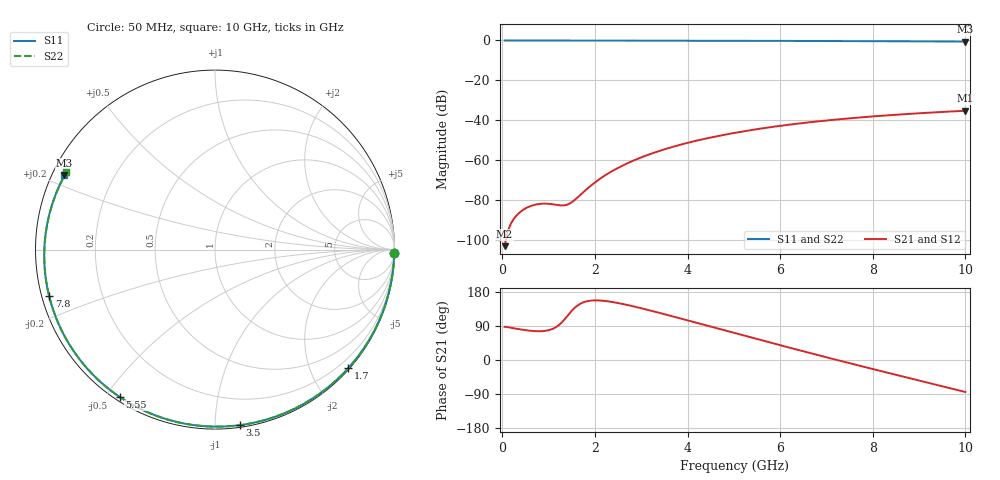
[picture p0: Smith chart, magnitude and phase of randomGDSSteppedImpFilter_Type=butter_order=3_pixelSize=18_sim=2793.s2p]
! freq	dB(S11)	phase(S11)	dB(S12)	phase(S12)
!  dB(S21)	phase(S21)	dB(S22)	phase(S22)
!S-par simulation data
#  GHz  S  DB  R 50
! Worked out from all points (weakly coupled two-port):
!   200 points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, 50 MHz to 10 GHz, reference 50 ohm
!   highest |S21| = -35.30 dB at 10 GHz (marker M1); lowest = -103.3 dB at 50 MHz (marker M2)
!   lowest |S11| = -0.6 dB at 10 GHz (marker M3), VSWR 29.83, Z = 1.77 + j11.6 ohm
!   |S11| at or under -10 dB: nowhere
!   |S22| runs from -0.6 to 0.0 dB; largest |S21 - S12| = 0
!   S11 on the Smith chart (normalised r, x): 50 MHz: 3, -95; 1.7 GHz: 0.02, -2.64; 3.5 GHz: 0.01, -1.15; 5.55 GHz: 0.01, -0.54; 7.8 GHz: 0.02, -0.14; 10 GHz: 0.04, +0.23
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0.05  -0.00 -1.2  -103.29 87.6  -103.29 87.6  -0.00 -1.2
0.75  -0.02 -18.6  -82.27 75.9  -82.27 75.9  -0.02 -18.5
1.15  -0.04 -28.4  -82.48 86.0  -82.48 86.0  -0.04 -28.3
1.55  -0.05 -38.0  -80.36 136.2  -80.36 136.2  -0.05 -37.9
1.6  -0.05 -39.2  -79.37 141.6  -79.37 141.6  -0.05 -39.0
1.7  -0.05 -41.6  -77.25 149.4  -77.25 149.4  -0.05 -41.4
1.75  -0.05 -42.7  -76.19 152.1  -76.19 152.1  -0.05 -42.6
2.1  -0.06 -50.9  -69.61 157.0  -69.61 157.0  -0.06 -50.7
2.45  -0.07 -58.9  -64.60 151.5  -64.60 151.5  -0.07 -58.8
2.9  -0.09 -69.0  -59.66 139.6  -59.66 139.6  -0.09 -68.8
3.4  -0.10 -79.9  -55.41 124.2  -55.41 124.2  -0.10 -79.7
3.5  -0.11 -82.0  -54.67 121.0  -54.67 121.0  -0.11 -81.8
4.25  -0.13 -97.6  -50.02 96.4  -50.02 96.4  -0.13 -97.4
5.05  -0.17 -113.4  -46.27 70.0  -46.27 70.0  -0.17 -113.3
5.55  -0.20 -123.0  -44.37 53.6  -44.37 53.6  -0.20 -122.9
6.15  -0.23 -134.2  -42.43 34.2  -42.43 34.2  -0.23 -134.2
6.7  -0.27 -144.3  -40.92 16.6  -40.92 16.6  -0.27 -144.4
7.25  -0.31 -154.3  -39.62 -0.7  -39.62 -0.7  -0.31 -154.6
7.8  -0.36 -164.4  -38.51 -17.8  -38.51 -17.8  -0.36 -164.8
8.35  -0.41 -174.5  -37.55 -34.6  -37.55 -34.6  -0.41 -175.1
9.2  -0.49 169.5  -36.28 -60.2  -36.28 -60.2  -0.50 168.6
10  -0.58 153.8  -35.30 -84.4  -35.30 -84.4  -0.60 152.5
